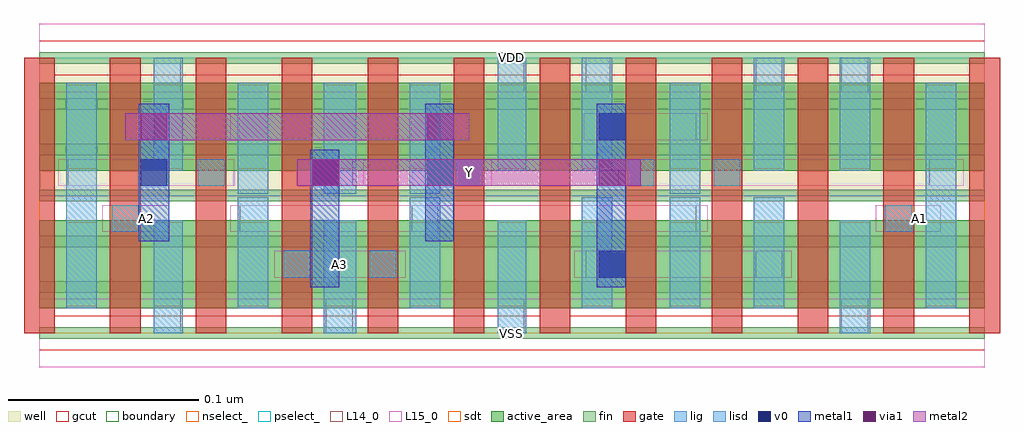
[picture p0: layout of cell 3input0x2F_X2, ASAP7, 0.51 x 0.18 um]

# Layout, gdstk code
import gdstk
lib = gdstk.Library(unit=1e-6, precision=1e-09)
def R(c, l, rs):  # rectangles x0, y0, x1, y1
    for r in rs: c.add(gdstk.rectangle(r[:2], r[2:], *l))
def A(c, l, x, y, w, h, nx, ny, dx, dy):  # array of equal rectangles
    R(c, l, [(x+i*dx, y+j*dy, x+i*dx+w, y+j*dy+h) for i in range(nx) for j in range(ny)])
def P(c, l, *ps):  # polygons
    for p in ps: c.add(gdstk.Polygon(p, *l))
well = (1, 0)
fin = (2, 0)
gate = (7, 0)
gcut = (10, 0)
active_area = (11, 0)
nselect_ = (12, 0)
pselect_ = (13, 0)
L14_0 = (14, 0)
L15_0 = (15, 0)
lig = (16, 0)
lisd = (17, 0)
v0 = (18, 0)
metal1 = (19, 0)
metal2 = (20, 0)
via1 = (21, 0)
sdt = (88, 0)
boundary = (100, 0)

c_3input0x2f_x2 = lib.new_cell('3input0x2F_X2')
R(c_3input0x2f_x2, well, [(0,0.072,0.495,0.144)])
A(c_3input0x2f_x2, fin, 0, -0.003, 0.495, 0.006, 1, 7, 0, 0.024)
A(c_3input0x2f_x2, gate, -0.008, 0, 0.016, 0.144, 12, 1, 0.045, 0)
P(c_3input0x2f_x2, gcut, [(0,-0.009),(0,0),(-0.008,0),(-0.008,0.135),(0.008,0.135),(0.008,0.009),(0.262,0.009),(0.262,0.135),(0.278,0.135),(0.278,0.009),(0.397,0.009),(0.397,0.135),(0.413,0.135),(0.413,0.009),(0.487,0.009),(0.487,0.135),(-0.008,0.135),(-0.008,0.144),(0,0.144),(0,0.153),(0.495,0.153),(0.495,0.144),(0.503,0.144),(0.503,0),(0.495,0),(0.495,-0.009)])
R(c_3input0x2f_x2, active_area, [(0,0.013,0.495,0.059), (0,0.085,0.495,0.131)])
R(c_3input0x2f_x2, nselect_, [(0,0,0.495,0.072)])
R(c_3input0x2f_x2, pselect_, [(0,0.072,0.495,0.144)])
A(c_3input0x2f_x2, L14_0, 0.06, 0, 0.014, 0.018, 3, 1, 0.09, 0)
R(c_3input0x2f_x2, L14_0, [(0.42,0,0.434,0.018), (0.128,0.029,0.142,0.043), (0.173,0.029,0.187,0.043), (0.286,0.029,0.299,0.043), (0.375,0.029,0.389,0.043), (0.038,0.053,0.052,0.067), (0.105,0.053,0.12,0.067), (0.195,0.053,0.209,0.067), (0.33,0.053,0.344,0.067), (0.443,0.053,0.457,0.067), (0.015,0.077,0.03,0.091), (0.083,0.077,0.097,0.091), (0.15,0.077,0.164,0.091), (0.218,0.077,0.232,0.091), (0.308,0.077,0.322,0.091), (0.353,0.077,0.367,0.091), (0.466,0.077,0.48,0.091), (0.105,0.101,0.12,0.115), (0.195,0.101,0.209,0.115), (0.33,0.101,0.344,0.115), (0.06,0.126,0.074,0.144), (0.24,0.126,0.254,0.144), (0.286,0.126,0.299,0.144), (0.375,0.126,0.389,0.144), (0.42,0.126,0.434,0.144)])
R(c_3input0x2f_x2, L15_0, [(0,-0.018,0.495,0.018), (0.123,0.029,0.192,0.043), (0.28,0.029,0.394,0.043), (0.033,0.053,0.068,0.067), (0.1,0.053,0.35,0.067), (0.438,0.053,0.472,0.067), (0.01,0.077,0.102,0.091), (0.135,0.077,0.17,0.091), (0.195,0.077,0.237,0.091), (0.303,0.077,0.484,0.091), (0.1,0.101,0.214,0.115), (0.285,0.101,0.35,0.115), (0,0.126,0.495,0.162)])
R(c_3input0x2f_x2, lig, [(0.128,0.029,0.142,0.043), (0.173,0.029,0.187,0.043), (0.038,0.053,0.052,0.067), (0.443,0.053,0.457,0.067), (0.083,0.077,0.097,0.091), (0.218,0.077,0.232,0.091), (0.308,0.077,0.322,0.091), (0.353,0.077,0.367,0.091)])
A(c_3input0x2f_x2, lisd, 0.104, 0.013, 0.016, 0.058, 3, 1, 0.09, 0)
R(c_3input0x2f_x2, lisd, [(0.06,0,0.075,0.059), (0.149,0,0.166,0.059), (0.24,0,0.255,0.059), (0.419,0,0.435,0.059), (0.014,0.013,0.03,0.131), (0.33,0.013,0.346,0.071), (0.374,0.013,0.39,0.071), (0.464,0.013,0.48,0.131), (0.104,0.073,0.12,0.131), (0.149,0.073,0.166,0.131), (0.194,0.073,0.21,0.131), (0.33,0.073,0.346,0.131), (0.06,0.085,0.075,0.144), (0.24,0.085,0.255,0.144), (0.284,0.085,0.3,0.144), (0.374,0.085,0.39,0.144), (0.419,0.085,0.435,0.144)])
R(c_3input0x2f_x2, v0, [(0.293,0.029,0.307,0.043), (0.053,0.077,0.067,0.091), (0.143,0.077,0.157,0.091), (0.203,0.077,0.217,0.091), (0.293,0.101,0.307,0.115)])
R(c_3input0x2f_x2, metal1, [(0.142,0.024,0.157,0.096), (0.292,0.024,0.307,0.12), (0.052,0.048,0.068,0.12), (0.202,0.048,0.217,0.12)])
R(c_3input0x2f_x2, metal2, [(0.135,0.077,0.315,0.091), (0.045,0.101,0.225,0.115)])
R(c_3input0x2f_x2, via1, [(0.143,0.077,0.157,0.091), (0.293,0.077,0.307,0.091), (0.053,0.101,0.067,0.115), (0.203,0.101,0.217,0.115)])
A(c_3input0x2f_x2, sdt, 0.014, 0.014, 0.016, 0.044, 4, 2, 0.09, 0.072)
A(c_3input0x2f_x2, sdt, 0.374, 0.014, 0.016, 0.044, 3, 2, 0.045, 0.072)
R(c_3input0x2f_x2, sdt, [(0.06,0.014,0.075,0.058), (0.149,0.014,0.166,0.058), (0.24,0.014,0.255,0.058), (0.33,0.014,0.346,0.058), (0.06,0.086,0.075,0.13), (0.149,0.086,0.166,0.13), (0.24,0.086,0.255,0.13), (0.33,0.086,0.346,0.13)])
R(c_3input0x2f_x2, boundary, [(0,0,0.495,0.144)])
c_3input0x2f_x2.add(gdstk.Label('A1', (0.461,0.06), layer=15, texttype=251))
c_3input0x2f_x2.add(gdstk.Label('VSS', (0.247,0), layer=15, texttype=251))
c_3input0x2f_x2.add(gdstk.Label('VDD', (0.247,0.144), layer=15, texttype=251))
c_3input0x2f_x2.add(gdstk.Label('A3', (0.157,0.036), layer=15, texttype=251))
c_3input0x2f_x2.add(gdstk.Label('VSS', (0.247,0), layer=15, texttype=251))
c_3input0x2f_x2.add(gdstk.Label('VDD', (0.247,0.144), layer=15, texttype=251))
c_3input0x2f_x2.add(gdstk.Label('A2', (0.056,0.06), layer=15, texttype=251))
c_3input0x2f_x2.add(gdstk.Label('VSS', (0.247,0), layer=15, texttype=251))
c_3input0x2f_x2.add(gdstk.Label('VDD', (0.247,0.144), layer=15, texttype=251))
c_3input0x2f_x2.add(gdstk.Label('VSS', (0.247,0), layer=15, texttype=251))
c_3input0x2f_x2.add(gdstk.Label('VDD', (0.247,0.144), layer=15, texttype=251))
c_3input0x2f_x2.add(gdstk.Label('VSS', (0.247,0), layer=3, texttype=251))
c_3input0x2f_x2.add(gdstk.Label('VSS', (0.247,0), layer=3, texttype=251))
c_3input0x2f_x2.add(gdstk.Label('VSS', (0.247,0), layer=3, texttype=251))
c_3input0x2f_x2.add(gdstk.Label('VSS', (0.247,0), layer=3, texttype=251))
c_3input0x2f_x2.add(gdstk.Label('VDD', (0.247,0.144), layer=1, texttype=251))
c_3input0x2f_x2.add(gdstk.Label('VDD', (0.247,0.144), layer=1, texttype=251))
c_3input0x2f_x2.add(gdstk.Label('VDD', (0.247,0.144), layer=1, texttype=251))
c_3input0x2f_x2.add(gdstk.Label('VDD', (0.247,0.144), layer=1, texttype=251))
c_3input0x2f_x2.add(gdstk.Label('Y', (0.225,0.084), layer=20, texttype=251))

lib.write_gds('3input0x2F_X2.gds')
